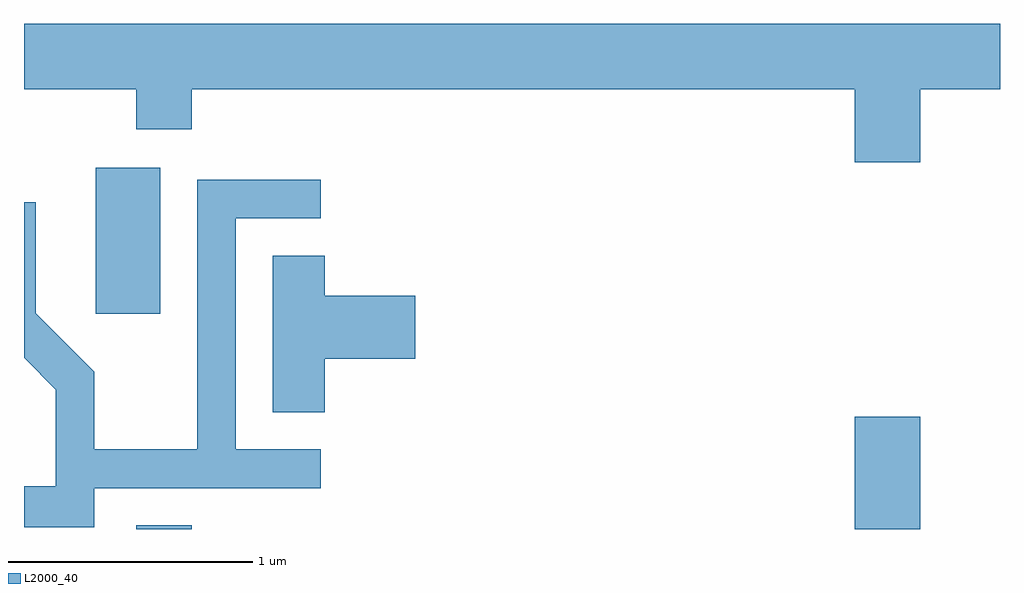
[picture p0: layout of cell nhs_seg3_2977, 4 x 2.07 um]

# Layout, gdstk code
import gdstk
lib = gdstk.Library(unit=1e-6, precision=1e-09)
def R(c, l, rs):  # rectangles x0, y0, x1, y1
    for r in rs: c.add(gdstk.rectangle(r[:2], r[2:], *l))
def P(c, l, *ps):  # polygons
    for p in ps: c.add(gdstk.Polygon(p, *l))
L2000_40 = (2000, 40)

nhs_seg3_2977 = lib.new_cell('nhs_seg3_2977')
R(nhs_seg3_2977, L2000_40, [(272.071,1221.892,272.299,1221.909), (275.016,1221.892,275.284,1222.354), (271.906,1222.776,272.169,1223.374)])
P(nhs_seg3_2977, L2000_40, [(275.284,1223.696),(275.611,1223.696),(275.611,1223.964),(271.611,1223.964),(271.611,1223.696),(272.071,1223.696),(272.071,1223.531),(272.299,1223.531),(272.299,1223.696),(275.016,1223.696),(275.016,1223.396),(275.284,1223.396)],
  [(271.899,1222.061),(272.828,1222.061),(272.828,1222.219),(272.479,1222.219),(272.479,1223.166),(272.828,1223.166),(272.828,1223.324),(272.321,1223.324),(272.321,1222.219),(271.899,1222.219),(271.899,1222.537),(271.659,1222.777),(271.659,1223.233),(271.611,1223.233),(271.611,1222.594),(271.741,1222.464),(271.741,1222.069),(271.611,1222.069),(271.611,1221.901),(271.899,1221.901)],
  [(272.844,1222.591),(273.214,1222.591),(273.214,1222.849),(272.844,1222.849),(272.844,1223.014),(272.631,1223.014),(272.631,1222.371),(272.844,1222.371)])

lib.write_gds('nhs_seg3_2977.gds')
